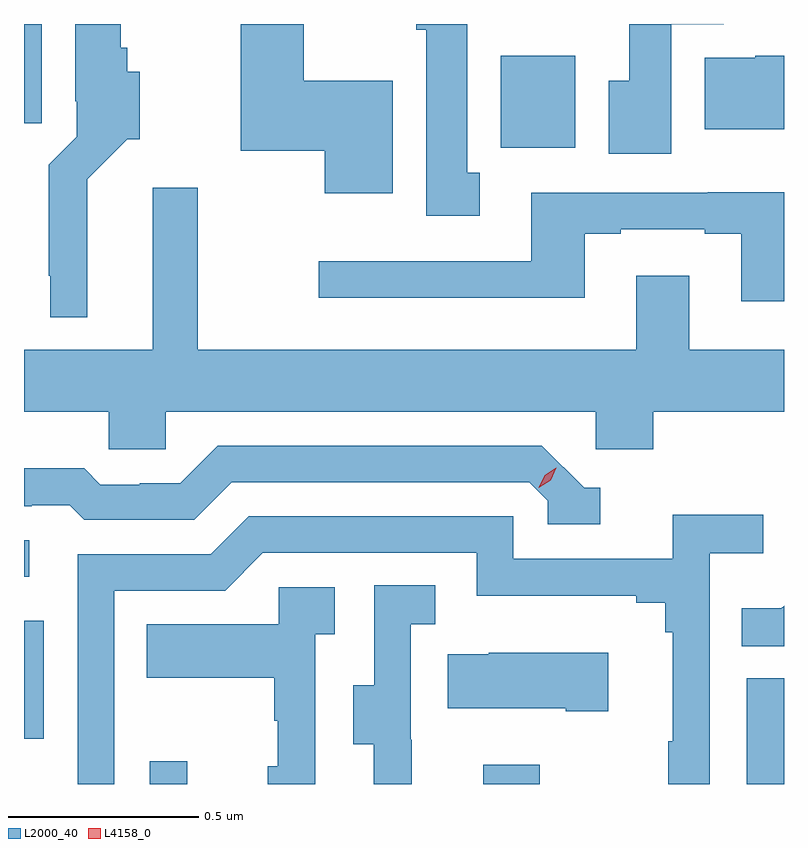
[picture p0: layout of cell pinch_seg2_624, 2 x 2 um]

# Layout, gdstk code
import gdstk
lib = gdstk.Library(unit=1e-6, precision=1e-09)
def R(c, l, rs):  # rectangles x0, y0, x1, y1
    for r in rs: c.add(gdstk.rectangle(r[:2], r[2:], *l))
def P(c, l, *ps):  # polygons
    for p in ps: c.add(gdstk.Polygon(p, *l))
L2000_40 = (2000, 40)
L4158_0 = (4158, 0)

pinch_seg2_624 = lib.new_cell('pinch_seg2_624')
R(pinch_seg2_624, L2000_40, [(1021.803,606.697,1021.901,606.757), (1022.681,606.697,1022.829,606.748), (1023.374,606.697,1023.472,606.975), (1021.472,606.816,1021.524,607.126), (1021.472,607.242,1021.486,607.338), (1022.726,608.372,1022.923,608.614), (1021.472,608.436,1021.519,608.697)])
P(pinch_seg2_624, L2000_40, [(1021.639,608.288),(1021.744,608.394),(1021.777,608.394),(1021.777,608.571),(1021.744,608.571),(1021.744,608.634),(1021.726,608.634),(1021.726,608.697),(1021.607,608.697),(1021.607,608.494),(1021.611,608.494),(1021.611,608.4),(1021.537,608.326),(1021.537,608.035),(1021.541,608.035),(1021.541,607.925),(1021.639,607.925)],
  [(1022.671,608.306),(1022.638,608.306),(1022.638,608.697),(1022.504,608.697),(1022.504,608.682),(1022.531,608.682),(1022.531,608.193),(1022.671,608.193)],
  [(1023.175,608.696),(1023.314,608.696),(1023.314,608.697),(1023.065,608.697),(1023.065,608.548),(1023.011,608.548),(1023.011,608.355),(1023.175,608.355)],
  [(1022.443,608.548),(1022.208,608.548),(1022.208,608.697),(1022.042,608.697),(1022.042,608.363),(1022.264,608.363),(1022.264,608.252),(1022.443,608.252)],
  [(1023.472,608.614),(1023.396,608.614),(1023.396,608.608),(1023.263,608.608),(1023.263,608.42),(1023.472,608.42)],
  [(1021.845,607.676),(1022.976,607.676),(1022.976,607.578),(1023.128,607.578),(1023.128,607.676),(1023.472,607.676),(1023.472,607.84),(1023.223,607.84),(1023.223,608.035),(1023.083,608.035),(1023.083,607.84),(1021.929,607.84),(1021.929,608.266),(1021.811,608.266),(1021.811,607.84),(1021.472,607.84),(1021.472,607.676),(1021.695,607.676),(1021.695,607.578),(1021.845,607.578)],
  [(1023.472,608.254),(1023.271,608.254),(1023.271,608.253),(1022.807,608.253),(1022.807,608.073),(1022.247,608.073),(1022.247,607.976),(1022.947,607.976),(1022.947,608.145),(1023.043,608.145),(1023.043,608.157),(1023.263,608.157),(1023.263,608.145),(1023.359,608.145),(1023.359,607.968),(1023.472,607.968)],
  [(1022.989,607.476),(1022.946,607.476),(1022.835,607.587),(1021.982,607.587),(1021.883,607.488),(1021.776,607.488),(1021.776,607.485),(1021.673,607.485),(1021.631,607.528),(1021.472,607.528),(1021.472,607.428),(1021.493,607.428),(1021.493,607.431),(1021.592,607.431),(1021.631,607.392),(1021.92,607.392),(1022.019,607.491),(1022.802,607.491),(1022.85,607.443),(1022.85,607.38),(1022.989,607.38)],
  [(1021.71,607.206),(1022.001,607.206),(1022.1,607.305),(1022.664,607.305),(1022.664,607.193),(1023.083,607.193),(1023.083,607.174),(1023.16,607.174),(1023.16,607.097),(1023.179,607.097),(1023.179,606.809),(1023.168,606.809),(1023.168,606.697),(1023.276,606.697),(1023.276,607.304),(1023.418,607.304),(1023.418,607.406),(1023.179,607.406),(1023.179,607.29),(1022.76,607.29),(1022.76,607.401),(1022.063,607.401),(1021.964,607.302),(1021.614,607.302),(1021.614,606.697),(1021.71,606.697)],
  [(1022.492,606.813),(1022.49,606.813),(1022.49,607.117),(1022.554,607.117),(1022.554,607.22),(1022.394,607.22),(1022.394,606.957),(1022.339,606.957),(1022.339,606.802),(1022.393,606.802),(1022.393,606.697),(1022.492,606.697)],
  [(1022.238,607.091),(1022.29,607.091),(1022.29,607.215),(1022.142,607.215),(1022.142,607.117),(1021.795,607.117),(1021.795,606.977),(1022.13,606.977),(1022.13,606.863),(1022.14,606.863),(1022.14,606.744),(1022.114,606.744),(1022.114,606.697),(1022.238,606.697)],
  [(1023.472,607.166),(1023.465,607.159),(1023.361,607.159),(1023.361,607.06),(1023.472,607.06)],
  [(1023.01,607.042),(1022.695,607.042),(1022.695,607.039),(1022.587,607.039),(1022.587,606.896),(1022.897,606.896),(1022.897,606.889),(1023.01,606.889)])
P(pinch_seg2_624, L4158_0, [(1022.827,607.476),(1022.827,607.476),(1022.842,607.509),(1022.873,607.529),(1022.873,607.529),(1022.873,607.529),(1022.858,607.496),(1022.827,607.476)])

lib.write_gds('pinch_seg2_624.gds')
